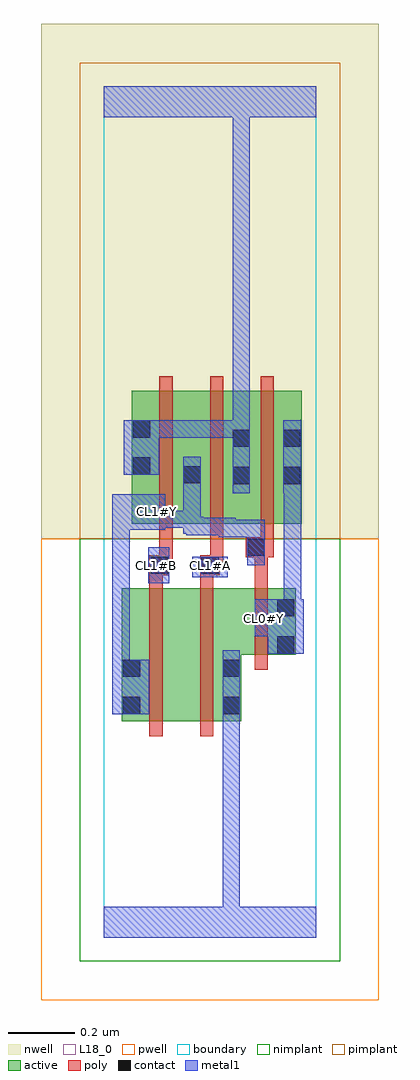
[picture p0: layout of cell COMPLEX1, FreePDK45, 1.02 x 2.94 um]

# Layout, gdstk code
import gdstk
lib = gdstk.Library(unit=1e-6, precision=1e-09)
def R(c, l, rs):  # rectangles x0, y0, x1, y1
    for r in rs: c.add(gdstk.rectangle(r[:2], r[2:], *l))
def A(c, l, x, y, w, h, nx, ny, dx, dy):  # array of equal rectangles
    R(c, l, [(x+i*dx, y+j*dy, x+i*dx+w, y+j*dy+h) for i in range(nx) for j in range(ny)])
active = (1, 0)
pwell = (2, 0)
nwell = (3, 0)
nimplant = (4, 0)
pimplant = (5, 0)
poly = (9, 0)
contact = (10, 0)
metal1 = (11, 0)
L18_0 = (18, 0)
boundary = (235, 0)

complex1 = lib.new_cell('COMPLEX1')
R(complex1, active, [(0.054,0.65,0.234,1.05), (0.234,0.65,0.414,1.05), (0.354,0.65,0.414,0.85), (0.054,0.668,0.114,1.05), (0.354,0.85,0.578,1.05), (0.518,0.85,0.578,1.05), (0.084,1.244,0.144,1.644), (0.084,1.244,0.296,1.644), (0.236,1.244,0.296,1.644), (0.236,1.244,0.444,1.644), (0.384,1.244,0.444,1.644), (0.384,1.244,0.596,1.644), (0.536,1.244,0.596,1.644)])
R(complex1, pwell, [(-0.188,-0.188,0.828,1.2)])
R(complex1, nwell, [(-0.188,1.2,0.828,2.748)])
R(complex1, nimplant, [(-0.072,-0.072,0.712,1.2)])
R(complex1, pimplant, [(-0.072,1.2,0.712,2.632)])
A(complex1, poly, 0.168, 1.2, 0.04, 0.488, 3, 1, 0.152, 0)
R(complex1, poly, [(0.138,0.606,0.178,1.094), (0.29,0.606,0.33,1.094), (0.454,0.806,0.494,1.094), (0.138,1.054,0.178,1.13), (0.29,1.054,0.33,1.13), (0.454,1.054,0.494,1.184), (0.138,1.09,0.198,1.15), (0.29,1.09,0.35,1.15), (0.158,1.11,0.198,1.15), (0.158,1.11,0.208,1.15), (0.168,1.11,0.208,1.24), (0.31,1.11,0.35,1.15), (0.31,1.11,0.36,1.15), (0.32,1.11,0.36,1.24), (0.428,1.144,0.512,1.204), (0.454,1.144,0.494,1.184), (0.454,1.144,0.494,1.184), (0.472,1.164,0.512,1.24)])
R(complex1, contact, [(0.058,0.672,0.11,0.724), (0.358,0.672,0.41,0.724), (0.058,0.784,0.11,0.836), (0.358,0.784,0.41,0.836), (0.522,0.854,0.574,0.906), (0.522,0.966,0.574,1.018), (0.142,1.094,0.194,1.146), (0.294,1.094,0.346,1.146), (0.432,1.148,0.484,1.2), (0.388,1.364,0.44,1.416), (0.54,1.364,0.592,1.416), (0.24,1.366,0.292,1.418), (0.088,1.392,0.14,1.444), (0.388,1.476,0.44,1.528), (0.54,1.476,0.592,1.528), (0.088,1.504,0.14,1.556)])
R(complex1, metal1, [(0,0,0.64,0.092), (0.358,0.04,0.41,0.092), (0.358,0.04,0.41,0.092), (0.358,0.04,0.41,0.092), (0.358,0.04,0.41,0.092), (0.358,0.04,0.41,0.092), (0.358,0.04,0.41,0.092), (0.358,0.04,0.41,0.092), (0.358,0.04,0.41,0.092), (0.358,0.04,0.41,0.092), (0.358,0.04,0.41,0.092), (0.358,0.04,0.41,0.696), (0.358,0.644,0.41,0.696), (0.358,0.644,0.41,0.696), (0.358,0.644,0.41,0.864), (0.026,0.672,0.138,0.836), (0.026,0.784,0.078,1.278), (0.494,0.854,0.602,1.018), (0.454,0.906,0.594,1.018), (0.506,0.966,0.558,1.018), (0.542,0.966,0.594,1.388), (0.134,1.066,0.198,1.174), (0.266,1.084,0.374,1.146), (0.432,1.12,0.484,1.256), (0.346,1.204,0.484,1.256), (0.346,1.204,0.398,1.262), (0.248,1.21,0.398,1.262), (0.248,1.21,0.3,1.266), (0.24,1.214,0.3,1.266), (0.24,1.214,0.292,1.284), (0.026,1.226,0.078,1.278), (0.026,1.226,0.078,1.278), (0.026,1.226,0.186,1.334), (0.134,1.232,0.186,1.284), (0.134,1.232,0.186,1.284), (0.134,1.232,0.292,1.284), (0.24,1.232,0.292,1.39), (0.388,1.336,0.44,1.556), (0.54,1.336,0.594,1.556), (0.542,1.336,0.594,1.388), (0.542,1.336,0.594,1.388), (0.24,1.338,0.292,1.446), (0.06,1.392,0.168,1.556), (0.116,1.504,0.168,1.556), (0.116,1.504,0.168,1.556), (0.116,1.504,0.292,1.556), (0.24,1.504,0.292,1.556), (0.24,1.504,0.296,1.556), (0.244,1.504,0.296,1.556), (0.244,1.504,0.44,1.556), (0.388,1.504,0.44,1.556), (0.388,1.504,0.44,1.556), (0.388,1.504,0.44,1.556), (0.388,1.504,0.44,1.556), (0.388,1.504,0.44,1.556), (0.388,1.504,0.44,1.556), (0.388,1.504,0.44,1.556), (0.388,1.504,0.44,1.556), (0.388,1.504,0.44,1.556), (0.388,1.504,0.44,1.556), (0.388,1.504,0.44,2.52), (0,2.468,0.64,2.56), (0.388,2.468,0.44,2.52), (0.388,2.468,0.44,2.52), (0.388,2.468,0.44,2.52), (0.388,2.468,0.44,2.52), (0.388,2.468,0.44,2.52), (0.388,2.468,0.44,2.52)])
R(complex1, L18_0, [(0,0,0.64,0.092), (0.358,0.04,0.41,0.092), (0.358,0.04,0.41,0.092), (0.358,0.04,0.41,0.092), (0.358,0.04,0.41,0.092), (0.358,0.04,0.41,0.092), (0.358,0.04,0.41,0.092), (0.358,0.04,0.41,0.092), (0.358,0.04,0.41,0.092), (0.358,0.04,0.41,0.092), (0.358,0.04,0.41,0.092), (0.358,0.04,0.41,0.696), (0.358,0.644,0.41,0.696), (0.358,0.644,0.41,0.696), (0.358,0.644,0.41,0.864), (0.026,0.672,0.138,0.836), (0.026,0.784,0.078,1.278), (0.494,0.854,0.602,1.018), (0.454,0.906,0.594,1.018), (0.454,0.934,0.506,0.986), (0.506,0.966,0.558,1.018), (0.542,0.966,0.594,1.388), (0.134,1.066,0.198,1.174), (0.266,1.084,0.374,1.146), (0.134,1.094,0.186,1.146), (0.294,1.094,0.346,1.146), (0.432,1.12,0.484,1.256), (0.346,1.204,0.398,1.262), (0.346,1.204,0.484,1.256), (0.248,1.21,0.3,1.266), (0.248,1.21,0.398,1.262), (0.24,1.214,0.292,1.284), (0.24,1.214,0.3,1.266), (0.026,1.226,0.078,1.278), (0.026,1.226,0.078,1.278), (0.026,1.226,0.186,1.334), (0.134,1.232,0.186,1.284), (0.134,1.232,0.186,1.284), (0.134,1.232,0.292,1.284), (0.24,1.232,0.292,1.39), (0.134,1.254,0.186,1.306), (0.388,1.336,0.44,1.556), (0.54,1.336,0.594,1.556), (0.542,1.336,0.594,1.388), (0.542,1.336,0.594,1.388), (0.24,1.338,0.292,1.446), (0.06,1.392,0.168,1.556), (0.116,1.504,0.168,1.556), (0.116,1.504,0.168,1.556), (0.116,1.504,0.292,1.556), (0.24,1.504,0.292,1.556), (0.24,1.504,0.296,1.556), (0.244,1.504,0.296,1.556), (0.244,1.504,0.44,1.556), (0.388,1.504,0.44,1.556), (0.388,1.504,0.44,1.556), (0.388,1.504,0.44,1.556), (0.388,1.504,0.44,1.556), (0.388,1.504,0.44,1.556), (0.388,1.504,0.44,1.556), (0.388,1.504,0.44,1.556), (0.388,1.504,0.44,1.556), (0.388,1.504,0.44,1.556), (0.388,1.504,0.44,1.556), (0.388,1.504,0.44,2.52), (0,2.468,0.64,2.56), (0.388,2.468,0.44,2.52), (0.388,2.468,0.44,2.52), (0.388,2.468,0.44,2.52), (0.388,2.468,0.44,2.52), (0.388,2.468,0.44,2.52), (0.388,2.468,0.44,2.52)])
R(complex1, boundary, [(0,0,0.64,2.56)])
complex1.add(gdstk.Label('CL0#Y', (0.48,0.96), layer=11, texttype=0))
complex1.add(gdstk.Label('CL1#A', (0.32,1.12), layer=11, texttype=0))
complex1.add(gdstk.Label('CL1#B', (0.16,1.12), layer=11, texttype=0))
complex1.add(gdstk.Label('CL1#Y', (0.16,1.28), layer=11, texttype=0))

lib.write_gds('COMPLEX1.gds')
